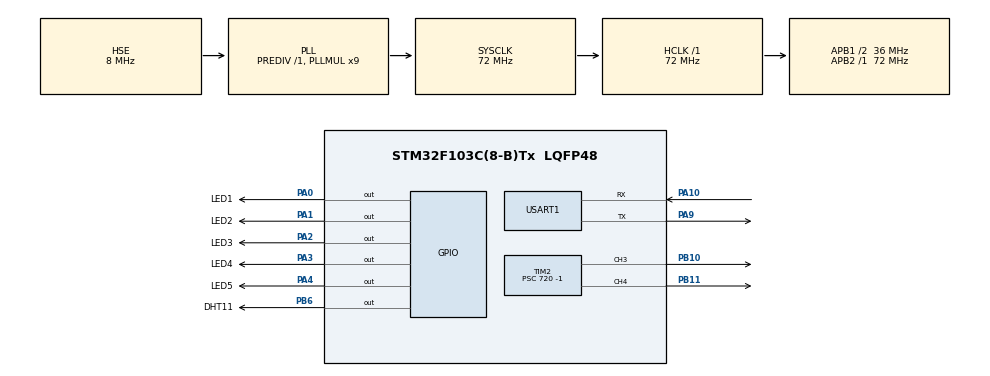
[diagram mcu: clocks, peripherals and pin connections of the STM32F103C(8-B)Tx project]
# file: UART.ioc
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Mcu.Family=STM32F1
Mcu.Name=STM32F103C(8-B)Tx
Mcu.Package=LQFP48
NVIC.PriorityGroup=NVIC_PRIORITYGROUP_4
NVIC.TIM1_CC_IRQn=true\:0\:0\:false\:false\:true\:true\:true\:true
NVIC.TIM1_UP_IRQn=true\:0\:0\:false\:false\:true\:true\:true\:true
NVIC.TIM2_IRQn=true\:0\:0\:true\:false\:true\:true\:true\:true
NVIC.USART1_IRQn=true\:0\:0\:false\:false\:true\:true\:true\:true
PA0-WKUP.GPIO_Label=LED1
PA0-WKUP.Signal=GPIO_Output
PA1.GPIO_Label=LED2
PA1.Signal=GPIO_Output
PA10.Mode=Asynchronous
PA10.Signal=USART1_RX
PA13.Mode=Serial_Wire
PA13.Signal=SYS_JTMS-SWDIO
PA14.Mode=Serial_Wire
PA14.Signal=SYS_JTCK-SWCLK
PA2.GPIO_Label=LED3
PA2.Signal=GPIO_Output
PA3.GPIO_Label=LED4
PA3.Signal=GPIO_Output
PA4.GPIO_Label=LED5
PA4.Signal=GPIO_Output
PA9.Mode=Asynchronous
PA9.Signal=USART1_TX
PB10.Signal=S_TIM2_CH3
PB11.Signal=S_TIM2_CH4
PB6.GPIO_Label=DHT11
PB6.GPIO_ModeDefaultOutputPP=GPIO_MODE_OUTPUT_OD
PB6.GPIO_PuPd=GPIO_NOPULL
PB6.GPIO_Speed=GPIO_SPEED_FREQ_LOW
PB6.PinState=GPIO_PIN_SET
PB6.Signal=GPIO_Output
PD0-OSC_IN.Mode=HSE-External-Oscillator
PD0-OSC_IN.Signal=RCC_OSC_IN
PD1-OSC_OUT.Mode=HSE-External-Oscillator
PD1-OSC_OUT.Signal=RCC_OSC_OUT
ProjectManager.HeapSize=0x200
ProjectManager.StackSize=0x400
ProjectManager.TargetToolchain=STM32CubeIDE
RCC.AHBFreq_Value=72000000
RCC.APB1CLKDivider=RCC_HCLK_DIV2
RCC.APB1Freq_Value=36000000
RCC.APB1TimFreq_Value=72000000
RCC.APB2Freq_Value=72000000
RCC.APB2TimFreq_Value=72000000
RCC.HCLKFreq_Value=72000000
RCC.PLLMUL=RCC_PLL_MUL9
RCC.PLLSourceVirtual=RCC_PLLSOURCE_HSE
RCC.SYSCLKFreq_VALUE=72000000
RCC.SYSCLKSource=RCC_SYSCLKSOURCE_PLLCLK
RCC.USBFreq_Value=72000000
SH.S_TIM2_CH3.0=TIM2_CH3,PWM Generation3 CH3
SH.S_TIM2_CH4.0=TIM2_CH4,Output Compare4 CH4
TIM1.Channel-Output\ Compare1\ No\ Output=TIM_CHANNEL_1
TIM1.Period=10000 - 1
TIM1.Prescaler=720 -1
TIM2.Channel-Output\ Compare4\ CH4=TIM_CHANNEL_4
TIM2.Channel-PWM\ Generation3\ CH3=TIM_CHANNEL_3
TIM2.OC3Preload_PWM=DISABLE
TIM2.OC4Preload=DISABLE
TIM2.OCMode_4=TIM_OCMODE_TOGGLE
TIM2.Period=10000 - 1
TIM2.Prescaler=720 -1
TIM2.Pulse-Output\ Compare4\ CH4=500 - 1
USART1.VirtualMode=VM_ASYNC
VP_TIM1_VS_ClockSourceINT.Mode=Internal
VP_TIM1_VS_no_output1.Mode=Output Compare1 No Output
VP_TIM2_VS_ClockSourceINT.Mode=Internal
board=custom

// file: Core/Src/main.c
/* USER CODE BEGIN Header */
/**
  ******************************************************************************
  * @file           : main.c
  * @brief          : Main program body
  ******************************************************************************
  * @attention
  *
  * Copyright (c) 2024 STMicroelectronics.
  * All rights reserved.
  *
  * This software is licensed under terms that can be found in the LICENSE file
  * in the root directory of this software component.
  * If no LICENSE file comes with this software, it is provided AS-IS.
  *
  ******************************************************************************
  */
/* USER CODE END Header */
#include "main.h"

/* USER CODE BEGIN Includes */
#include "stdio.h"
#include "stdlib.h"
#include "string.h"
#include "stdbool.h"
/* USER CODE END Includes */

/* USER CODE BEGIN PTD */
// second change
// change from browser
// change from lam's branch
/* USER CODE END PTD */

/* USER CODE BEGIN PD */

#define DHT_PORT GPIOB
#define DHT_PIN GPIO_PIN_6

/* USER CODE END PD */

/* USER CODE BEGIN PM */
// reset
/* USER CODE END PM */

TIM_HandleTypeDef htim1;
TIM_HandleTypeDef htim2;

UART_HandleTypeDef huart1;

/* USER CODE BEGIN PV */
uint8_t counter_from_x[5]; // 0 --> 10,000
uint8_t duty_cycle_num[20];
int counter = 0;
int choice = 0;
int prev_choice;
uint32_t counter_in_callback;
uint16_t waiting;
uint16_t previous_tim;
uint16_t current_tim;
uint8_t msg1[1];
uint8_t blinking_mode[20] = "\nBlinking Mode";
uint8_t modulation_mode[20] = "\nModulation Mode";
uint8_t stop_modulation_mode[42] = "\nStop Modulation Mode";
uint8_t stop_blinking_mode[42] = "\nStop Blinking Mode";
uint8_t done[40] = "\nDone! Enter 9 to stop";
uint8_t be_on_operation[100] = "\nSelected Mode Is On Operation";
uint8_t led[5] ={LED1_Pin,LED2_Pin,LED3_Pin,LED4_Pin,LED5_Pin};
bool on_led = false,
	 led_reverse_flag = false;
uint16_t capture = 0;
uint32_t counter_increment;
uint8_t logg[100] ="\n7.Blinking Mode\n8. Modulation Mode";

// mode flag
bool modulation_flag;
bool blinking_flag;
bool choice_flag = true;
bool stop_flag;

//Initialize DHT11
float Temperature=0, Humidity=0;
uint16_t SUM, RH, TEMP;
uint8_t Rh_byte1, Rh_byte2, Temp_byte1, Temp_byte2,
        Presence =0;

/* USER CODE END PV */

void SystemClock_Config(void);
static void MX_GPIO_Init(void);
static void MX_USART1_UART_Init(void);
static void MX_TIM1_Init(void);
static void MX_TIM2_Init(void);

/* USER CODE BEGIN 0 */

void Delay(uint16_t time)
{
	__HAL_TIM_SET_COUNTER(&htim2,0);
	while (__HAL_TIM_GET_COUNTER(&htim2) < time);
}

// sensor

void Set_Pin_Output (GPIO_TypeDef *GPIOx, uint16_t GPIO_Pin)
{
	GPIO_InitTypeDef GPIO_InitStruct = {0};
	GPIO_InitStruct.Pin = GPIO_Pin;
	GPIO_InitStruct.Mode = GPIO_MODE_OUTPUT_PP;
	GPIO_InitStruct.Speed = GPIO_SPEED_FREQ_LOW;
	HAL_GPIO_Init(GPIOx, &GPIO_InitStruct);
}

void Set_Pin_Input (GPIO_TypeDef *GPIOx, uint16_t GPIO_Pin)
{
	GPIO_InitTypeDef GPIO_InitStruct = {0};
	GPIO_InitStruct.Pin = GPIO_Pin;
	GPIO_InitStruct.Mode = GPIO_MODE_INPUT;
	GPIO_InitStruct.Pull = GPIO_NOPULL;
	HAL_GPIO_Init(GPIOx, &GPIO_InitStruct);
}

void DHT_Start (void)
{
	Set_Pin_Output (DHT_PORT, DHT_PIN);  // set the pin as output
	HAL_GPIO_WritePin (DHT_PORT, DHT_PIN, 0);   // pull the pin low
	Delay (18000);   // wait for 18ms
    HAL_GPIO_WritePin (DHT_PORT, DHT_PIN, 1);   // pull the pin high
    Delay (20);   // wait for 30us
	Set_Pin_Input(DHT_PORT, DHT_PIN);    // set as input
}

uint8_t DHT_Check_Response (void)
{
	uint8_t Response = 0;
	Delay (40);
	if (!(HAL_GPIO_ReadPin (DHT_PORT, DHT_PIN)))
	{
		Delay (80);
		if ((HAL_GPIO_ReadPin (DHT_PORT, DHT_PIN))) Response = 1;
		else Response = -1;
	}
	while ((HAL_GPIO_ReadPin (DHT_PORT, DHT_PIN)));   // wait for the pin to go low

	return Response;
}

uint8_t DHT_Read (void)
{
	uint8_t i,j;
	for (j=0;j<8;j++)
	{
		while (!(HAL_GPIO_ReadPin (DHT_PORT, DHT_PIN)));   // wait for the pin to go high
		Delay (40);   // wait for 40 us
		if (!(HAL_GPIO_ReadPin (DHT_PORT, DHT_PIN)))   // if the pin is low
		{
			i&= ~(1<<(7-j));   // write 0
		}
		else i|= (1<<(7-j));  // if the pin is high, write 1
		while ((HAL_GPIO_ReadPin (DHT_PORT, DHT_PIN)));  // wait for the pin to go low
	}
	return i;
}

void Display_Temp(void)
{
	uint8_t temp[20];
	sprintf(temp,"Temp: %2.f C\n\r",Temperature);
	HAL_UART_Transmit(&huart1, (uint8_t*)temp, (uint8_t)sizeof(temp), 100);
}

void Display_Humi(void)
{
	char humi[30];
	sprintf(humi,"Rh: %2.f ",Humidity);
	HAL_UART_Transmit(&huart1, (uint8_t*)humi, (uint8_t)sizeof(humi), 100);
	uint8_t pc[]="%\n";
	HAL_UART_Transmit(&huart1, (uint8_t*)pc, (uint8_t)sizeof(pc), 100);
}

void On_Off(void)
{
	if (on_led) {
		for (int i = 0; i < 5; i++) {
			HAL_GPIO_WritePin(LED2_GPIO_Port, led[i], 1);
		}
		uint8_t on[] = "LEDs TURNED ON\n";
		HAL_UART_Transmit(&huart1, on, sizeof(on), 100);
	} else {
		for (int i = 0; i < 5; i++) {
			HAL_GPIO_WritePin(LED2_GPIO_Port, led[i], 0);
			uint8_t off[] = "LEDs TURNED OFF\n";
			HAL_UART_Transmit(&huart1, off, sizeof(off), 100);
		}
	}
}
int a2i(uint8_t*);
void StartModulationMode();
void StopModulationMode();
void StartBlinkingMode(int);
void StopBlinkingMode();
void Wait20sMode();
void Wait10sMode();
void StopWaiting();

/* USER CODE END 0 */

int main(void)
{

  /* MCU Configuration--------------------------------------------------------*/

  /* Reset of all peripherals, Initializes the Flash interface and the Systick. */
  HAL_Init();

  /* Configure the system clock */
  SystemClock_Config();

  /* Initialize all configured peripherals */
  MX_GPIO_Init();
  MX_USART1_UART_Init();
  MX_TIM1_Init();
  MX_TIM2_Init();
  /* USER CODE BEGIN 2 */
//  HAL_TIM_Base_Start_IT(&htim2);
  HAL_UART_Receive_IT(&huart1, msg1, sizeof(msg1));
  HAL_TIM_OC_Start_IT(&htim1, TIM_CHANNEL_1);
//  HAL_TIM_OC_Start_IT(&htim2, TIM_CHANNEL_4);
  /* USER CODE END 2 */

  /* Infinite loop */
  /* USER CODE BEGIN WHILE */
	while (1) {
//		DHT_Start();
//		Presence = DHT_Check_Response();
//		Rh_byte1 = DHT_Read();
//		Rh_byte2 = DHT_Read();
//		Temp_byte1 = DHT_Read();
//		Temp_byte2 = DHT_Read();
//		SUM = DHT_Read();
//
//		TEMP = Temp_byte1;
//		RH = Rh_byte1;
//
//		Temperature = (float) TEMP;
//		Humidity = (float) RH
		if(stop_flag)
		{
			if(modulation_flag) StopModulationMode();
			else if(blinking_flag) StopBlinkingMode();
			stop_flag = false;
		}
		if(choice_flag)
		{

		switch (choice)
		{
				case 0:
					HAL_UART_Transmit_IT(&huart1, logg, sizeof(logg));
					choice = -1;
					choice_flag = false;
					break;
				case 8:
					StartModulationMode();
					choice_flag = false;
				case 9:
					break;
				default:
					if (choice!=-1)
					{
						uint8_t nhaplai[]="Error\n";
						HAL_UART_Transmit_IT(&huart1, nhaplai, sizeof(nhaplai));
						choice = 0;
					}
		}
	}
}

    /* USER CODE END WHILE */

}

void SystemClock_Config(void)
{
  RCC_OscInitTypeDef RCC_OscInitStruct = {0};
  RCC_ClkInitTypeDef RCC_ClkInitStruct = {0};

  /** Initializes the RCC Oscillators according to the specified parameters
  * in the RCC_OscInitTypeDef structure.
  */
  RCC_OscInitStruct.OscillatorType = RCC_OSCILLATORTYPE_HSE;
  RCC_OscInitStruct.HSEState = RCC_HSE_ON;
  RCC_OscInitStruct.HSEPredivValue = RCC_HSE_PREDIV_DIV1;
  RCC_OscInitStruct.HSIState = RCC_HSI_ON;
  RCC_OscInitStruct.PLL.PLLState = RCC_PLL_ON;
  RCC_OscInitStruct.PLL.PLLSource = RCC_PLLSOURCE_HSE;
  RCC_OscInitStruct.PLL.PLLMUL = RCC_PLL_MUL9;
  if (HAL_RCC_OscConfig(&RCC_OscInitStruct) != HAL_OK)
  {
    Error_Handler();
  }

  /** Initializes the CPU, AHB and APB buses clocks
  */
  RCC_ClkInitStruct.ClockType = RCC_CLOCKTYPE_HCLK|RCC_CLOCKTYPE_SYSCLK
                              |RCC_CLOCKTYPE_PCLK1|RCC_CLOCKTYPE_PCLK2;
  RCC_ClkInitStruct.SYSCLKSource = RCC_SYSCLKSOURCE_PLLCLK;
  RCC_ClkInitStruct.AHBCLKDivider = RCC_SYSCLK_DIV1;
  RCC_ClkInitStruct.APB1CLKDivider = RCC_HCLK_DIV2;
  RCC_ClkInitStruct.APB2CLKDivider = RCC_HCLK_DIV1;

  if (HAL_RCC_ClockConfig(&RCC_ClkInitStruct, FLASH_LATENCY_2) != HAL_OK)
  {
    Error_Handler();
  }
}

static void MX_TIM1_Init(void)
{

  TIM_ClockConfigTypeDef sClockSourceConfig = {0};
  TIM_MasterConfigTypeDef sMasterConfig = {0};
  TIM_OC_InitTypeDef sConfigOC = {0};
  TIM_BreakDeadTimeConfigTypeDef sBreakDeadTimeConfig = {0};

  htim1.Instance = TIM1;
  htim1.Init.Prescaler = 720 -1;
  htim1.Init.CounterMode = TIM_COUNTERMODE_UP;
  htim1.Init.Period = 10000 - 1;
  htim1.Init.ClockDivision = TIM_CLOCKDIVISION_DIV1;
  htim1.Init.RepetitionCounter = 0;
  htim1.Init.AutoReloadPreload = TIM_AUTORELOAD_PRELOAD_DISABLE;
  if (HAL_TIM_Base_Init(&htim1) != HAL_OK)
  {
    Error_Handler();
  }
  sClockSourceConfig.ClockSource = TIM_CLOCKSOURCE_INTERNAL;
  if (HAL_TIM_ConfigClockSource(&htim1, &sClockSourceConfig) != HAL_OK)
  {
    Error_Handler();
  }
  if (HAL_TIM_OC_Init(&htim1) != HAL_OK)
  {
    Error_Handler();
  }
  sMasterConfig.MasterOutputTrigger = TIM_TRGO_RESET;
  sMasterConfig.MasterSlaveMode = TIM_MASTERSLAVEMODE_DISABLE;
  if (HAL_TIMEx_MasterConfigSynchronization(&htim1, &sMasterConfig) != HAL_OK)
  {
    Error_Handler();
  }
  sConfigOC.OCMode = TIM_OCMODE_TIMING;
  sConfigOC.Pulse = 0;
  sConfigOC.OCPolarity = TIM_OCPOLARITY_HIGH;
  sConfigOC.OCNPolarity = TIM_OCNPOLARITY_HIGH;
  sConfigOC.OCFastMode = TIM_OCFAST_DISABLE;
  sConfigOC.OCIdleState = TIM_OCIDLESTATE_RESET;
  sConfigOC.OCNIdleState = TIM_OCNIDLESTATE_RESET;
  if (HAL_TIM_OC_ConfigChannel(&htim1, &sConfigOC, TIM_CHANNEL_1) != HAL_OK)
  {
    Error_Handler();
  }
  sBreakDeadTimeConfig.OffStateRunMode = TIM_OSSR_DISABLE;
  sBreakDeadTimeConfig.OffStateIDLEMode = TIM_OSSI_DISABLE;
  sBreakDeadTimeConfig.LockLevel = TIM_LOCKLEVEL_OFF;
  sBreakDeadTimeConfig.DeadTime = 0;
  sBreakDeadTimeConfig.BreakState = TIM_BREAK_DISABLE;
  sBreakDeadTimeConfig.BreakPolarity = TIM_BREAKPOLARITY_HIGH;
  sBreakDeadTimeConfig.AutomaticOutput = TIM_AUTOMATICOUTPUT_DISABLE;
  if (HAL_TIMEx_ConfigBreakDeadTime(&htim1, &sBreakDeadTimeConfig) != HAL_OK)
  {
    Error_Handler();
  }

}

static void MX_TIM2_Init(void)
{

  TIM_ClockConfigTypeDef sClockSourceConfig = {0};
  TIM_MasterConfigTypeDef sMasterConfig = {0};
  TIM_OC_InitTypeDef sConfigOC = {0};

  htim2.Instance = TIM2;
  htim2.Init.Prescaler = 720 -1;
  htim2.Init.CounterMode = TIM_COUNTERMODE_UP;
  htim2.Init.Period = 10000 - 1;
  htim2.Init.ClockDivision = TIM_CLOCKDIVISION_DIV1;
  htim2.Init.AutoReloadPreload = TIM_AUTORELOAD_PRELOAD_DISABLE;
  if (HAL_TIM_Base_Init(&htim2) != HAL_OK)
  {
    Error_Handler();
  }
  sClockSourceConfig.ClockSource = TIM_CLOCKSOURCE_INTERNAL;
  if (HAL_TIM_ConfigClockSource(&htim2, &sClockSourceConfig) != HAL_OK)
  {
    Error_Handler();
  }
  if (HAL_TIM_PWM_Init(&htim2) != HAL_OK)
  {
    Error_Handler();
  }
  if (HAL_TIM_OC_Init(&htim2) != HAL_OK)
  {
    Error_Handler();
  }
  sMasterConfig.MasterOutputTrigger = TIM_TRGO_RESET;
  sMasterConfig.MasterSlaveMode = TIM_MASTERSLAVEMODE_DISABLE;
  if (HAL_TIMEx_MasterConfigSynchronization(&htim2, &sMasterConfig) != HAL_OK)
  {
    Error_Handler();
  }
  sConfigOC.OCMode = TIM_OCMODE_PWM1;
  sConfigOC.Pulse = 0;
  sConfigOC.OCPolarity = TIM_OCPOLARITY_HIGH;
  sConfigOC.OCFastMode = TIM_OCFAST_DISABLE;
  if (HAL_TIM_PWM_ConfigChannel(&htim2, &sConfigOC, TIM_CHANNEL_3) != HAL_OK)
  {
    Error_Handler();
  }
  __HAL_TIM_DISABLE_OCxPRELOAD(&htim2, TIM_CHANNEL_3);
  sConfigOC.OCMode = TIM_OCMODE_TOGGLE;
  sConfigOC.Pulse = 500 - 1;
  if (HAL_TIM_OC_ConfigChannel(&htim2, &sConfigOC, TIM_CHANNEL_4) != HAL_OK)
  {
    Error_Handler();
  }
  HAL_TIM_MspPostInit(&htim2);

}

static void MX_USART1_UART_Init(void)
{

  huart1.Instance = USART1;
  huart1.Init.BaudRate = 115200;
  huart1.Init.WordLength = UART_WORDLENGTH_8B;
  huart1.Init.StopBits = UART_STOPBITS_1;
  huart1.Init.Parity = UART_PARITY_NONE;
  huart1.Init.Mode = UART_MODE_TX_RX;
  huart1.Init.HwFlowCtl = UART_HWCONTROL_NONE;
  huart1.Init.OverSampling = UART_OVERSAMPLING_16;
  if (HAL_UART_Init(&huart1) != HAL_OK)
  {
    Error_Handler();
  }

}

static void MX_GPIO_Init(void)
{
  GPIO_InitTypeDef GPIO_InitStruct = {0};

  /* GPIO Ports Clock Enable */
  __HAL_RCC_GPIOD_CLK_ENABLE();
  __HAL_RCC_GPIOA_CLK_ENABLE();
  __HAL_RCC_GPIOB_CLK_ENABLE();

  /*Configure GPIO pin Output Level */
  HAL_GPIO_WritePin(GPIOA, LED1_Pin|LED2_Pin|LED3_Pin|LED4_Pin
                          |LED5_Pin, GPIO_PIN_RESET);

  /*Configure GPIO pin Output Level */
  HAL_GPIO_WritePin(DHT11_GPIO_Port, DHT11_Pin, GPIO_PIN_SET);

  /*Configure GPIO pins : LED1_Pin LED2_Pin LED3_Pin LED4_Pin
                           LED5_Pin */
  GPIO_InitStruct.Pin = LED1_Pin|LED2_Pin|LED3_Pin|LED4_Pin
                          |LED5_Pin;
  GPIO_InitStruct.Mode = GPIO_MODE_OUTPUT_PP;
  GPIO_InitStruct.Pull = GPIO_NOPULL;
  GPIO_InitStruct.Speed = GPIO_SPEED_FREQ_LOW;
  HAL_GPIO_Init(GPIOA, &GPIO_InitStruct);

  /*Configure GPIO pin : DHT11_Pin */
  GPIO_InitStruct.Pin = DHT11_Pin;
  GPIO_InitStruct.Mode = GPIO_MODE_OUTPUT_OD;
  GPIO_InitStruct.Pull = GPIO_NOPULL;
  GPIO_InitStruct.Speed = GPIO_SPEED_FREQ_LOW;
  HAL_GPIO_Init(DHT11_GPIO_Port, &GPIO_InitStruct);

}

/* USER CODE BEGIN 4 */
void StartModulationMode()
{
	if(blinking_flag) return;
	HAL_UART_Transmit_IT(&huart1, modulation_mode, sizeof(modulation_mode));
	modulation_flag = true;
	HAL_TIM_PWM_Start(&htim2, TIM_CHANNEL_3);
	uint8_t duty_cycle;
	for(uint32_t i = 0; (i < 10001); i = i + 100)
	{
		__HAL_TIM_SET_COMPARE(&htim2, TIM_CHANNEL_3, i);
		duty_cycle = __HAL_TIM_GET_COMPARE(&htim2, TIM_CHANNEL_3) * 0.01;
		sprintf(duty_cycle_num , "Duty cycle : %d\n", duty_cycle);
		HAL_UART_Transmit_IT(&huart1, duty_cycle_num, sizeof(duty_cycle_num));
		HAL_Delay(400);
	}
}

void StopModulationMode()
{
	if(!modulation_flag) return;
	modulation_flag = false;
	HAL_UART_Transmit_IT(&huart1, stop_modulation_mode, sizeof(stop_modulation_mode));
	HAL_TIM_PWM_Stop_IT(&htim2, TIM_CHANNEL_3);
	choice = 0;
}

void StartBlinkingMode(int x)
{
	if(modulation_flag) return;
	blinking_flag = true;
	HAL_TIM_OC_Start_IT(&htim2, TIM_CHANNEL_4);
	__HAL_TIM_SET_COUNTER(&htim2, x);
}

void StopBlinkingMode()
{
	if(!blinking_flag) return;
	HAL_UART_Transmit_IT(&huart1, stop_blinking_mode, sizeof(stop_blinking_mode));
	blinking_flag = false;
	HAL_TIM_OC_Stop_IT(&htim2, TIM_CHANNEL_4);
	choice = 0;
}

int a2i(uint8_t* txt)
{
    int sum, digit, i;
    sum = 0;
    for (i = 0; i < strlen(txt); i++) {
//        digit = txt[i] - 0x30;
        sum = (sum * 10) + (txt[i] - '0');
    }
    return sum;
}

void HAL_TIM_PeriodElapsedCallback(TIM_HandleTypeDef *htim)
{
	previous_tim = current_tim;
	if (htim->Instance == htim1.Instance) {
		uint8_t onled[] = "LED ON\n";
		uint8_t offled[] = "LED OFF\n";
		HAL_UART_Transmit(&huart1, onled, sizeof(onled), 100);
		if (!led_reverse_flag) {
			for (int i = 0; i < 5; i++) {
				HAL_GPIO_WritePin(LED2_GPIO_Port, led[i], 1);
				for (int i = 0; i < 2000; i++) {
					for (int j = 0; j < 500; j++) {
					}
				}
			}
		} else {
			for (int i = 4; i >= 0; i--) {
				HAL_GPIO_WritePin(LED2_GPIO_Port, led[i], 1);
				for (int i = 0; i < 2000; i++) {
					for (int j = 0; j < 500; j++) {
					}
				}
			}
		}

		for (int i = 0; i < 5; i++) {
			HAL_GPIO_TogglePin(LED2_GPIO_Port, led[i]);
		}
		current_tim = HAL_GetTick();
		HAL_UART_Transmit(&huart1, offled, sizeof(offled), 100);
	}

}

void HAL_TIM_OC_DelayElapsedCallback(TIM_HandleTypeDef *htim)
{
	if(htim->Instance == TIM2 && htim->Channel == HAL_TIM_ACTIVE_CHANNEL_4)
	{
		__HAL_TIM_SET_COUNTER(&htim2, counter);
	}
}

void HAL_UART_RxCpltCallback(UART_HandleTypeDef *huart)
{
  if (huart->Instance==huart1.Instance)
  {
	  choice = a2i(msg1);
	  if(choice == 9) stop_flag = true;
	  if((modulation_flag && choice == 8) || (blinking_flag && choice == 7)) HAL_UART_Transmit(&huart1, be_on_operation, sizeof(be_on_operation), 5000);
	  else if(choice == 7 && !modulation_flag && !blinking_flag)
	  {
		  HAL_UART_Transmit(&huart1, blinking_mode, sizeof(blinking_mode), HAL_MAX_DELAY);
		  HAL_UART_Receive(&huart1, counter_from_x, sizeof(counter_from_x), HAL_MAX_DELAY);
		  counter = a2i(counter_from_x);
		  StartBlinkingMode(counter);
		  choice_flag = false;
	  }
	  if(choice != prev_choice) choice_flag = true;
	  prev_choice = choice;
	  HAL_UART_Receive_IT(&huart1, msg1, sizeof(msg1));
  }
}

//void HAL_UART_TxCpltCallback(UART_HandleTypeDef *huart)
//{
//	if(huart->Instance == huart1.Instance)
//	{
//
//	}
//
//}

/* USER CODE END 4 */

void Error_Handler(void)
{
  __disable_irq();
  while (1)
  {
  }
}
